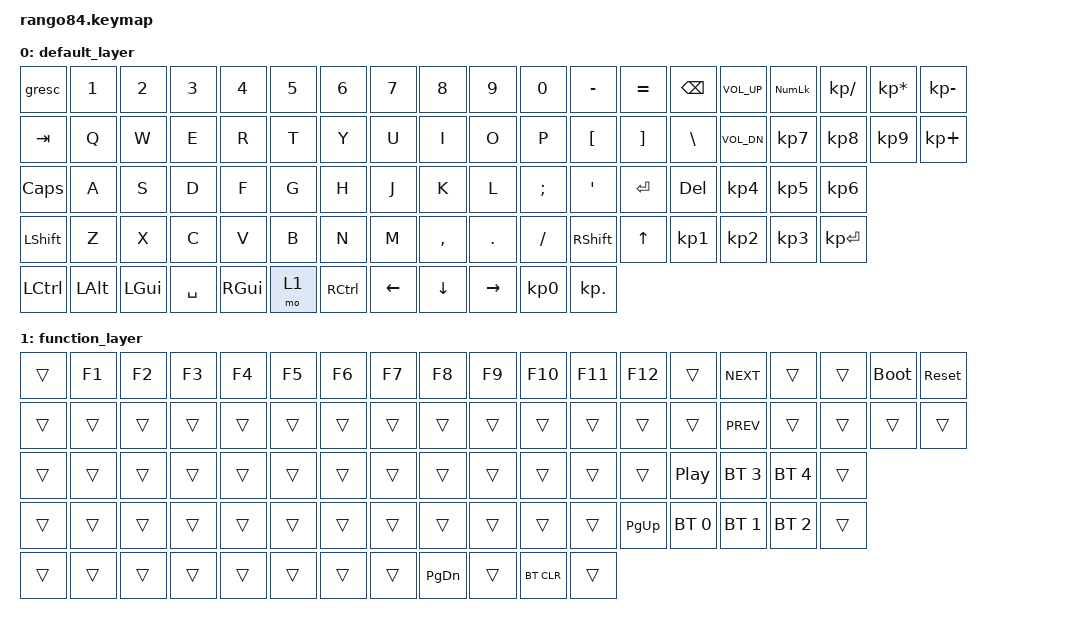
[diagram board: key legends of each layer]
#include <behaviors.dtsi>
#include <dt-bindings/zmk/keys.h>
#include <dt-bindings/zmk/bt.h>
#include <dt-bindings/zmk/outputs.h>

/ {
    keymap {
        compatible = "zmk,keymap";

        default_layer {
            bindings = <
            &gresc      &kp N1      &kp N2      &kp N3      &kp N4      &kp N5  &kp N6      &kp N7      &kp N8      &kp N9      &kp N0      &kp MINUS   &kp EQUAL   &kp BSPC    &kp C_VOL_UP    &kp KP_NUM  &kp KP_SLASH    &kp KP_MULTIPLY &kp KP_MINUS
            &kp TAB     &kp Q       &kp W       &kp E       &kp R       &kp T   &kp Y       &kp U       &kp I       &kp O       &kp P       &kp LBKT    &kp RBKT    &kp BSLH    &kp C_VOL_DN    &kp KP_N7   &kp KP_N8       &kp KP_N9       &kp KP_PLUS
            &kp CAPS    &kp A       &kp S       &kp D       &kp F       &kp G   &kp H       &kp J       &kp K       &kp L       &kp SEMI    &kp SQT     &kp ENTER   &kp DEL     &kp KP_N4       &kp KP_N5   &kp KP_N6
            &kp LSHFT   &kp Z       &kp X       &kp C       &kp V       &kp B   &kp N       &kp M       &kp COMMA   &kp DOT     &kp FSLH    &kp RSHFT   &kp UP      &kp KP_N1   &kp KP_N2       &kp KP_N3   &kp KP_ENTER
            &kp LCTRL   &kp LALT    &kp LGUI    &kp SPACE   &kp RGUI    &mo 1   &kp RCTRL   &kp LEFT    &kp DOWN    &kp RIGHT   &kp KP_N0   &kp KP_DOT
            >;
        };

        function_layer {
            bindings = <
            &trans      &kp F1      &kp F2      &kp F3      &kp F4      &kp F5  &kp F6      &kp F7      &kp F8      &kp F9      &kp F10     &kp F11     &kp F12     &trans          &kp C_NEXT      &trans          &trans          &bootloader     &sys_reset
            &trans      &trans      &trans      &trans      &trans      &trans  &trans      &trans      &trans      &trans      &trans      &trans      &trans      &trans          &kp C_PREV      &trans          &trans          &trans          &trans
            &trans      &trans      &trans      &trans      &trans      &trans  &trans      &trans      &trans      &trans      &trans      &trans      &trans      &kp C_PP        &bt BT_SEL 3    &bt BT_SEL 4    &trans
            &trans      &trans      &trans      &trans      &trans      &trans  &trans      &trans      &trans      &trans      &trans      &trans      &kp PG_UP   &bt BT_SEL 0    &bt BT_SEL 1    &bt BT_SEL 2    &trans
            &trans      &trans      &trans      &trans      &trans      &trans  &trans      &trans      &kp PG_DN   &trans      &bt BT_CLR  &trans      
            >;
        };
    };
};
